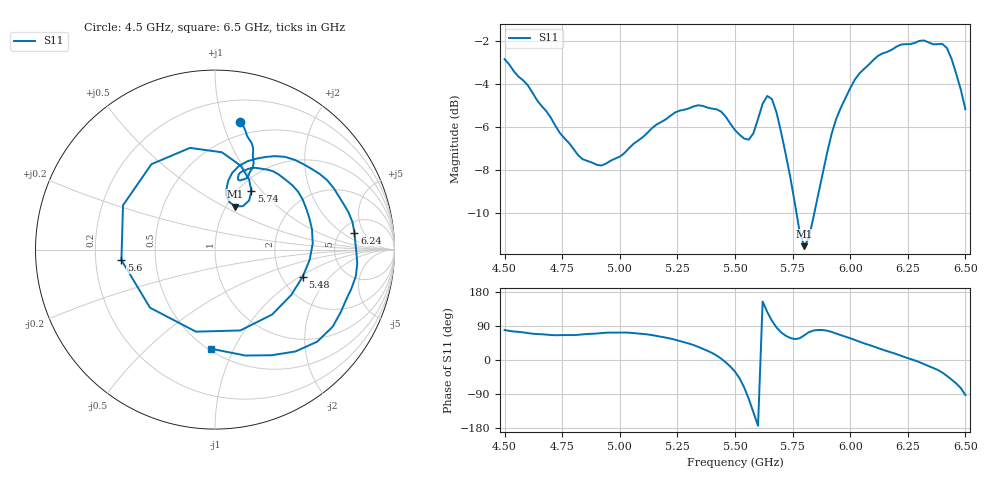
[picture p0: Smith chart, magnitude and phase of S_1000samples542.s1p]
! TOUCHSTONE file generated by CST MICROWAVE STUDIO
! Date and time: Fri Oct 28 12:58:56 2022
! Project name: L.cst
! Parameters = {Di=1.27; Epsilon_r=1.56; InnerDiameter=1.27; Length=2; Lf=10; Lg=60; OuterConductorThickness=0.2921; OuterDiameter=3.6; Wf=3; Wp=41.2; de=1.5; df=6.8; g=0.8; gx=0.572565; gy=4.3301; h=2.34; hf=1.524; px=12.3502; py=8.93144; w=9.7; wx=11.7777; wy=4.60135}
! Header version: 2018
! Port assignment regex: !\s*Touchstone port\s*([0-9]+)\s*=\s*(CST MWS port|CST DS port)\s*([0-9]+|Zmin|Zmax)\s*\(\"(.*)\"\)(\s*mode\s*([0-9]+))?.*
! Touchstone port assignment:
! Touchstone port 1 = CST MWS port 1 ("")
# GHz S DB R 50
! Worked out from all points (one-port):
!   101 points, 4.5 GHz to 6.5 GHz, reference 50 ohm
!   lowest |S11| = -11.5 dB at 5.8 GHz (marker M1), VSWR 1.72, Z = 55.1 + j28.4 ohm
!   |S11| at or under -10 dB: 5.767 GHz to 5.844 GHz (76.78 MHz wide, 1.32 % of centre)
!   S11 on the Smith chart (normalised r, x): 4.5 GHz: 0.38, +1.14; 5.48 GHz: 2.59, -1.07; 5.6 GHz: 0.31, -0.05; 5.74 GHz: 1.15, +0.88; 6.24 GHz: 6.61, +3.22; 6.5 GHz: 0.51, -0.82
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4.5  -2.82 79.1
4.62  -4.37 69.4
4.76  -6.50 65.8
5  -7.36 72.4
5.26  -5.22 50.1
5.38  -5.07 24.4
5.48  -5.83 -17.4
5.5  -6.12 -30.9
5.52  -6.34 -48.7
5.56  -6.57 -103.1
5.58  -6.27 -138.2
5.6  -5.60 -173.6
5.62  -4.90 154.3
5.64  -4.54 126.7
5.66  -4.68 103.8
5.7  -6.22 72.9
5.74  -8.32 58.1
5.76  -9.54 55.2
5.8  -11.52 64.8
5.88  -8.17 79.1
6  -4.18 57.4
6.1  -2.87 36.1
6.24  -2.13 6.9
6.26  -2.13 2.9
6.32  -1.96 -10.8
6.4  -2.12 -33.2
6.44  -2.81 -51.7
6.5  -5.15 -92.5
